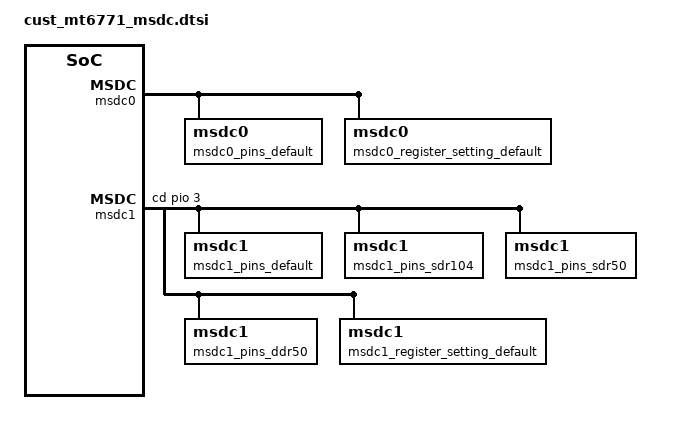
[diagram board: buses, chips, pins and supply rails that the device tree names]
/*
 * Copyright (c) 2019 MediaTek Inc.
 *
 * This program is free software; you can redistribute it and/or modify
 * it under the terms of the GNU General Public License version 2 as
 * published by the Free Software Foundation.
 *
 * This program is distributed in the hope that it will be useful,
 * but WITHOUT ANY WARRANTY; without even the implied warranty of
 * MERCHANTABILITY or FITNESS FOR A PARTICULAR PURPOSE.  See the
 * GNU General Public License for more details.
 */
/**********************************************
 *MT6771 MSDC DTSI File
********************************************/

&msdc0 {
	index = /bits/ 8 <0>;
	clk_src = /bits/ 8 <MSDC50_CLKSRC_400MHZ>;
	bus-width = <8>;
	max-frequency = <200000000>;
	cap-mmc-highspeed;
	mmc-ddr-1_8v;
	mmc-hs200-1_8v;
	mmc-hs400-1_8v;
	no-sd;
	no-sdio;
	non-removable;
	pinctl = <&msdc0_pins_default>;
	pinctl_hs400 = <&msdc0_pins_default>;
	pinctl_hs200 = <&msdc0_pins_default>;
	register_setting = <&msdc0_register_setting_default>;
	host_function = /bits/ 8 <MSDC_EMMC>;
	bootable;
	status = "okay";
	vmmc-supply = <&mt_pmic_vemc_ldo_reg>;
	clocks = <&infracfg_ao INFRACFG_AO_MSDC0_SCK_CG>, <&infracfg_ao INFRACFG_AO_MSDC0_CG>,
	<&infracfg_ao INFRACFG_AO_AES_UFSFDE_CG>;
	clock-names = "msdc0-clock", "msdc0-hclock", "msdc0-aes-clock";
	hw_dvfs = /bits/ 8 <0>;
};

&msdc1 {
	index = /bits/ 8 <1>;
	clk_src = /bits/ 8 <MSDC30_CLKSRC_200MHZ>;
	bus-width = <4>;
	max-frequency = <200000000>;
	cap-sd-highspeed;
	sd-vmch-fastoff;
	sd-uhs-sdr12;
	sd-uhs-sdr25;
	sd-uhs-sdr50;
	sd-uhs-sdr104;
	sd-uhs-ddr50;
	no-mmc;
	pinctl = <&msdc1_pins_default>;
	pinctl_sdr104 = <&msdc1_pins_sdr104>;
	pinctl_sdr50 = <&msdc1_pins_sdr50>;
	pinctl_ddr50 = <&msdc1_pins_ddr50>;
	register_setting = <&msdc1_register_setting_default>;
	host_function = /bits/ 8 <MSDC_SD>;
	cd_level = /bits/ 8 <MSDC_CD_LOW>;
	cd-gpios = <&pio 3 0>;
	status = "okay";
	vmmc-supply = <&mt_pmic_vmch_ldo_reg>;
	vqmmc-supply = <&mt_pmic_vmc_ldo_reg>;
	clocks = <&infracfg_ao INFRACFG_AO_MSDC1_SCK_CG>, <&infracfg_ao INFRACFG_AO_MSDC1_CG>;
	clock-names = "msdc1-clock", "msdc1-hclock";
	hw_dvfs = /bits/ 8 <0>;
};

&msdc0 {
	msdc0_pins_default: msdc0@default {
		pins_cmd {
			drive-strength = /bits/ 8 <4>;
		};
		pins_dat {
			drive-strength = /bits/ 8 <4>;
		};
		pins_clk {
			drive-strength = /bits/ 8 <4>;
		};
		pins_rst {
			drive-strength = /bits/ 8 <4>;
		};
		pins_ds {
			drive-strength = /bits/ 8 <4>;
		};
	};

	msdc0_register_setting_default: msdc0@register_default {
		cmd_edge = /bits/ 8 <MSDC_SMPL_RISING>;
		rdata_edge = /bits/ 8 <MSDC_SMPL_RISING>;
		wdata_edge = /bits/ 8 <MSDC_SMPL_RISING>;
	};
};

&msdc1 {
	msdc1_pins_default: msdc1@default {
		pins_cmd {
			drive-strength = /bits/ 8 <3>;
		};
		pins_dat {
			drive-strength = /bits/ 8 <3>;
		};
		pins_clk {
			drive-strength = /bits/ 8 <3>;
		};
	};

	msdc1_pins_sdr104: msdc1@sdr104 {
		pins_cmd {
			drive-strength = /bits/ 8 <3>;
		};
		pins_dat {
			drive-strength = /bits/ 8 <3>;
		};
		pins_clk {
			drive-strength = /bits/ 8 <3>;
		};
	};

	msdc1_pins_sdr50: msdc1@sdr50 {
		pins_cmd {
			drive-strength = /bits/ 8 <3>;
		};
		pins_dat {
			drive-strength = /bits/ 8 <3>;
		};
		pins_clk {
			drive-strength = /bits/ 8 <3>;
		};
	};

	msdc1_pins_ddr50: msdc1@ddr50 {
		pins_cmd {
			drive-strength = /bits/ 8 <3>;
		};
		pins_dat {
			drive-strength = /bits/ 8 <3>;
		};
		pins_clk {
			drive-strength = /bits/ 8 <3>;
		};
	};

	msdc1_register_setting_default: msdc1@register_default {
		cmd_edge = /bits/ 8 <MSDC_SMPL_RISING>;
		rdata_edge = /bits/ 8 <MSDC_SMPL_RISING>;
		wdata_edge = /bits/ 8 <MSDC_SMPL_RISING>;
	};
};
